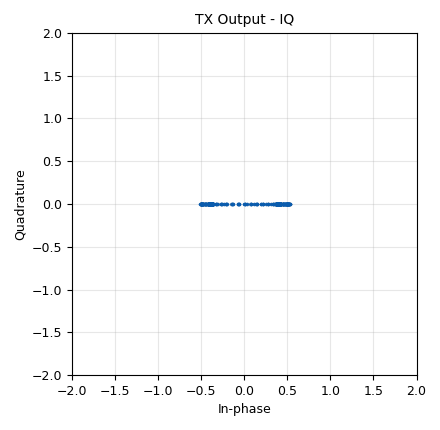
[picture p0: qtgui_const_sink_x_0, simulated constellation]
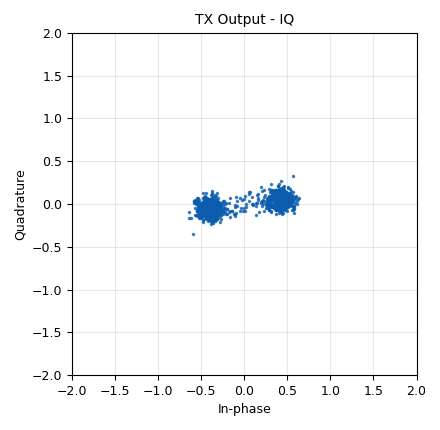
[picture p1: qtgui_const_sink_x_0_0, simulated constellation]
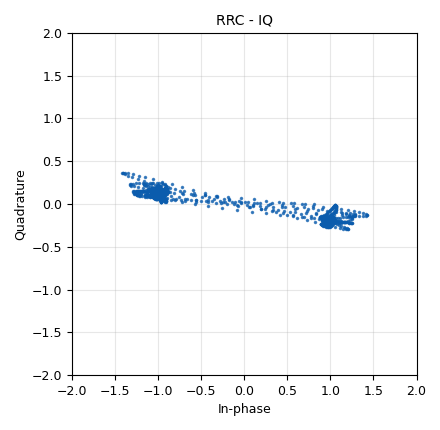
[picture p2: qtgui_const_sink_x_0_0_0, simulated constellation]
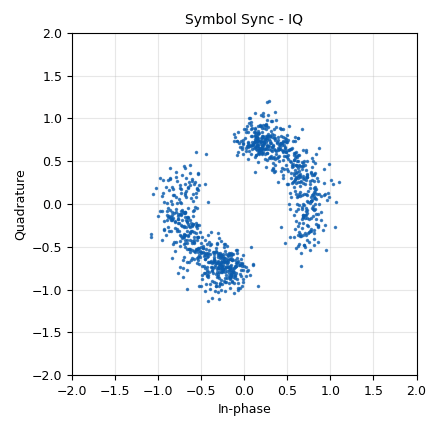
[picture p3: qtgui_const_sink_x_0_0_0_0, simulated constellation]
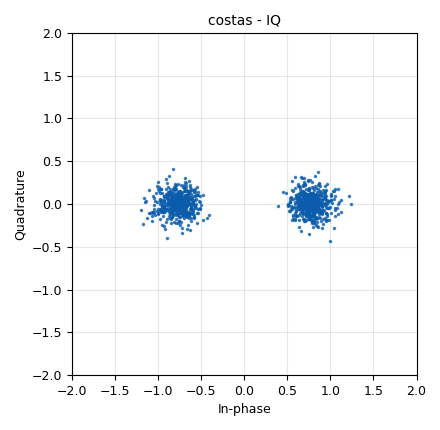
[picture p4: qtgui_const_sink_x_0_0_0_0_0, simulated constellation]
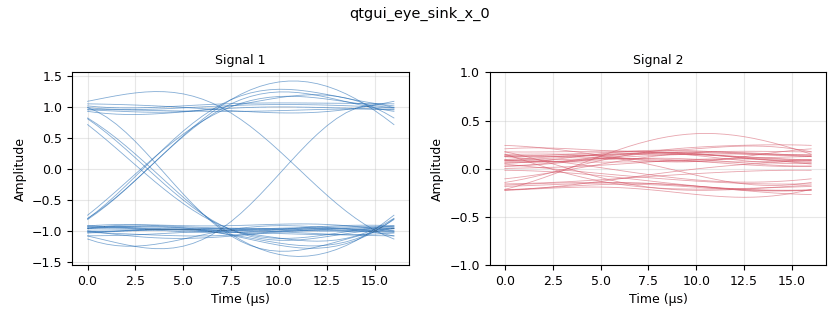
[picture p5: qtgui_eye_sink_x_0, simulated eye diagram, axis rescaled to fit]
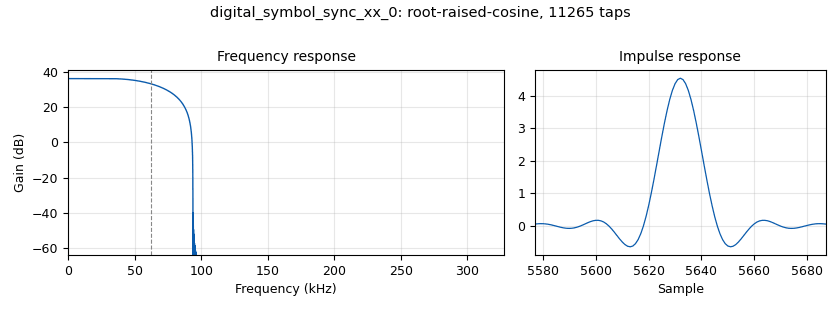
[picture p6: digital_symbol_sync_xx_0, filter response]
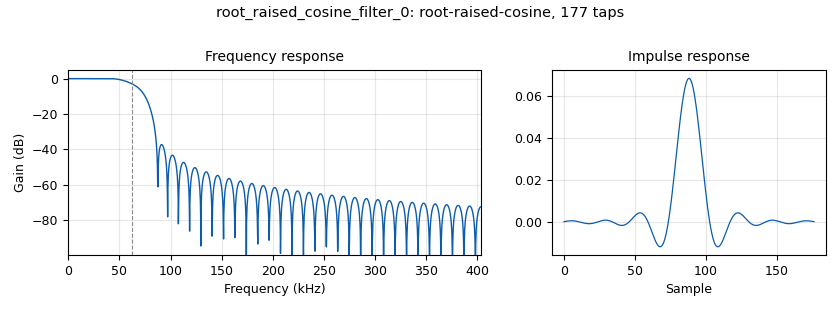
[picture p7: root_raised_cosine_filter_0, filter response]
options:
  parameters:
    generate_options: qt_gui
    id: BPSK_FullSystem
    output_language: python
    title: BPSK Transmit
  states: {}

blocks:
- name: bb_gain
  id: variable_qtgui_range
  parameters:
    gui_hint: 2,0
    label: Baseband gain
    rangeType: int
    start: '0'
    step: '2'
    stop: '62'
    value: '8'
  states: {}
- name: bit_delay
  id: variable_qtgui_range
  parameters:
    start: '0'
    step: '1'
    stop: '16'
    value: '4'
  states: {}
- name: bpsk_constellation
  id: variable_constellation
  parameters:
    precision: '8'
    type: bpsk
  states: {}
- name: channel_freq
  id: variable_qtgui_range
  parameters:
    gui_hint: 5,1
    label: Channel Freq Offset
    min_len: '1'
    start: '0'
    step: '.01'
    stop: '1'
    value: '.0000001'
    widget: counter
  states: {}
- name: channel_noise
  id: variable_qtgui_range
  parameters:
    gui_hint: 5,0
    label: noise
    min_len: '1'
    start: '0'
    step: '.01'
    stop: '1'
    value: '.1'
    widget: counter
  states: {}
- name: cos_freq
  id: variable_qtgui_range
  parameters:
    gui_hint: 0,3
    label: cos freq
    min_len: '100'
    start: 100e3
    step: 1e3
    stop: 700e3
    value: 100e3
  states: {}
- name: freq
  id: variable_qtgui_range
  parameters:
    gui_hint: 1,1
    label: Frequency
    start: 85e6
    step: 1e5
    stop: 110e6
    value: 89.7e6
  states: {state: disabled}
- name: freq
  id: variable_qtgui_range
  parameters:
    gui_hint: 2,3
    label: Frequency
    min_len: '50'
    start: 900e6
    step: 1e4
    stop: 950e6
    value: 915e6
  states: {}
- name: if_gain
  id: variable_qtgui_range
  parameters:
    gui_hint: 2,2
    label: LNA Gain
    min_len: '47'
    rangeType: int
    start: '0'
    step: '1'
    stop: '47'
    value: '36'
  states: {}
- name: nfilts
  id: variable
  parameters:
    value: '64'
  states: {}
- name: rrc_filter_taps
  id: variable_rrc_filter_taps
  parameters:
    alpha: '0.5'
    gain: nfilts
    ntaps: 11*sps*nfilts
    samp_rate: samp_rate
    sym_rate: samp_rate/sps
  states: {}
- name: rx_gain
  id: variable_qtgui_range
  parameters:
    gui_hint: 2,1
    label: RX Gain
    min_len: '2'
    rangeType: int
    start: '0'
    step: '1'
    stop: '1'
    value: '0'
    widget: slider
  states: {}
- name: samp_rate
  id: variable
  parameters:
    value: int(2e6)
  states: {}
- name: sps
  id: variable
  parameters:
    value: '16'
  states: {}
- name: tx_en
  id: variable_qtgui_range
  parameters:
    gui_hint: 0,0
    label: Transmit Enable
    min_len: '5'
    rangeType: int
    start: '0'
    step: '1'
    stop: '1'
    value: '1'
    widget: slider
  states: {state: disabled}
- name: tx_freq
  id: variable
  parameters:
    value: 915e6
  states: {}
- name: tx_gain
  id: variable_qtgui_range
  parameters:
    gui_hint: 0,2
    label: tx gain
    min_len: '2'
    rangeType: int
    start: '0'
    step: '1'
    stop: '1'
    value: '0'
    widget: counter
  states: {}
- name: tx_lna
  id: variable_qtgui_range
  parameters:
    gui_hint: 0,1
    label: TX LNA
    min_len: '47'
    rangeType: int
    start: '0'
    step: '1'
    stop: '47'
    value: '32'
  states: {}
- name: analog_agc_xx_0
  id: analog_agc_xx
  parameters:
    gain: '1.0'
    max_gain: '65536'
    rate: '1e-4'
    reference: '1.0'
    type: complex
  states: {}
- name: analog_random_source_x_0
  id: analog_random_source_x
  parameters:
    max: '10'
    min: '0'
    num_samps: '10'
    repeat: 'True'
    type: byte
  states: {state: disabled}
- name: analog_sig_source_x_0
  id: analog_sig_source_x
  parameters:
    amp: '1'
    freq: cos_freq
    offset: '0'
    phase: '0'
    samp_rate: samp_rate
    type: complex
    waveform: analog.GR_COS_WAVE
  states: {state: disabled}
- name: blocks_burst_to_stream_0
  id: blocks_burst_to_stream
  parameters:
    len_tag_key: '"packet_len"'
    propagate_tags: 'False'
    type: byte
    vlen: '1'
  states: {state: disabled}
- name: blocks_char_to_float_0
  id: blocks_char_to_float
  parameters:
    scale: '1'
  states: {}
- name: blocks_char_to_float_1
  id: blocks_char_to_float
  parameters:
    scale: '1'
  states: {state: disabled}
- name: blocks_char_to_float_2
  id: blocks_char_to_float
  parameters:
    scale: '1'
  states: {}
- name: blocks_char_to_float_2_0
  id: blocks_char_to_float
  parameters:
    scale: '1'
  states: {}
- name: blocks_delay_0
  id: blocks_delay
  parameters:
    delay: bit_delay
    type: complex
  states: {}
- name: blocks_file_sink_0
  id: blocks_file_sink
  parameters:
    file: /home/ubuntu/Documents/lsreeharikesan/senior_rf_exercises-master/4.00_Communication-Systems-Theory-and-Application/4.06_Demonstrate-Digital-Modulation/BPSK/BPSK_RX
    type: complex
  states: {state: disabled}
- name: blocks_file_sink_1
  id: blocks_file_sink
  parameters:
    file: /home/rf/Documents/BPSK/normal_processed
    type: byte
  states: {}
- name: blocks_file_sink_2
  id: blocks_file_sink
  parameters:
    file: /home/rf/Documents/BPSK/flipped_processed_packed
    type: byte
  states: {}
- name: blocks_file_source_0
  id: blocks_file_source
  parameters:
    file: /home/ubuntu/Documents/lsreeharikesan/senior_rf_exercises-master/4.00_Communication-Systems-Theory-and-Application/4.06_Demonstrate-Digital-Modulation/BPSK/tx_bytes
    repeat: 'True'
    type: byte
  states: {state: disabled}
- name: blocks_message_strobe_0
  id: blocks_message_strobe
  parameters:
    msg: pmt.intern("TEST")
    period: '1000'
  states: {state: disabled}
- name: blocks_multiply_const_vxx_0
  id: blocks_multiply_const_vxx
  parameters:
    const: '.4'
    type: complex
  states: {}
- name: blocks_multiply_const_vxx_1
  id: blocks_multiply_const_vxx
  parameters:
    const: '-1'
    type: complex
  states: {}
- name: blocks_null_sink_0
  id: blocks_null_sink
  parameters:
    type: byte
  states: {state: disabled}
- name: blocks_repack_bits_bb_0_0
  id: blocks_repack_bits_bb
  parameters:
    endianness: gr.GR_LSB_FIRST
    k: '1'
    l: '8'
  states: {}
- name: blocks_repack_bits_bb_0_0_0
  id: blocks_repack_bits_bb
  parameters:
    endianness: gr.GR_LSB_FIRST
    k: '1'
    l: '8'
  states: {}
- name: blocks_skiphead_0
  id: blocks_skiphead
  parameters:
    num_items: int(samp_rate)
    type: complex
  states: {}
- name: blocks_skiphead_1
  id: blocks_skiphead
  parameters:
    num_items: '1024'
    type: complex
  states: {state: disabled}
- name: blocks_throttle2_0
  id: blocks_throttle2
  parameters:
    samples_per_second: samp_rate
    type: complex
  states: {}
- name: blocks_vector_source_x_0
  id: blocks_vector_source_x
  parameters:
    repeat: 'True'
    type: byte
    vector: (0,1,2,3,4,5)
  states: {}
- name: channels_channel_model_0
  id: channels_channel_model
  parameters:
    epsilon: '1.0'
    freq_offset: channel_freq
    noise_voltage: channel_noise
    seed: '5'
    taps: '1.0'
  states: {}
- name: digital_constellation_decoder_cb_0
  id: digital_constellation_decoder_cb
  parameters:
    constellation: bpsk_constellation
  states: {}
- name: digital_constellation_decoder_cb_0_0
  id: digital_constellation_decoder_cb
  parameters:
    constellation: bpsk_constellation
  states: {}
- name: digital_constellation_modulator_0
  id: digital_constellation_modulator
  parameters:
    constellation: bpsk_constellation
    differential: 'True'
    excess_bw: '0.5'
    samples_per_symbol: sps
    truncate: 'True'
  states: {}
- name: digital_costas_loop_cc_0
  id: digital_costas_loop_cc
  parameters:
    order: '2'
    w: 2*np.pi*.01
  states: {}
- name: digital_diff_encoder_bb_0
  id: digital_diff_encoder_bb
  parameters:
    coding: digital.DIFF_DIFFERENTIAL
    modulus: '2'
  states: {}
- name: digital_fll_band_edge_cc_0
  id: digital_fll_band_edge_cc
  parameters:
    filter_size: sps*10+1
    rolloff: '.5'
    samps_per_sym: sps
    type: cc
    w: 2*np.pi/sps/100
  states: {}
- name: digital_symbol_sync_xx_0
  id: digital_symbol_sync_xx
  parameters:
    damping: '1.0'
    loop_bw: '0.045'
    max_dev: '1.5'
    nfilters: nfilts
    osps: '1'
    pfb_mf_taps: rrc_filter_taps
    resamp_type: digital.IR_PFB_MF
    sps: sps
    ted_gain: '1.0'
    ted_type: digital.TED_SIGNAL_TIMES_SLOPE_ML
    type: cc
  states: {}
- name: epy_block_2
  id: epy_block
  parameters:
    _source_code: |
      """
      Embedded Python Blocks:

      Each time this file is saved, GRC will instantiate the first class it finds
      to get ports and parameters of your block. The arguments to __init__  will
      be the parameters. All of them are required to have default values!
      """

      import numpy as np
      from gnuradio import gr
      import pmt


      class blk(gr.sync_block):  # other base classes are basic_block, decim_block, interp_block
          """Embedded Python Block example - a simple multiply const"""

          def __init__(self, preamble=[0xAA,0xAA], syncword=[0x56]):  # only default arguments here
              """arguments to this function show up as parameters in GRC"""
              gr.sync_block.__init__(
                  self,
                  name='Packet Formatter',   # will show up in GRC
                  in_sig= None,
                  out_sig= None
              )
              # if an attribute with the same name as a parameter is found,
              # a callback is registered (properties work, too).
              self.message_port_register_in(pmt.intern('PDU_in'))
              self.message_port_register_out(pmt.intern('PDU_out'))
              self.set_msg_handler(pmt.intern('PDU_in'),self.handle_msg)
              
              self.preamble = np.array(preamble,dtype=np.uint8)
              self.syncword = np.array(syncword,dtype=np.uint8)

          def handle_msg(self, msg):
              #Get msg
              payload = pmt.to_python(msg)
              
              #print(f"Payload: {payload}\n Payload type: {type(payload)}")
              
              payload = np.fromstring(payload[1], dtype=np.uint8)
              #print(f"Payload: {payload}")
              #Get Payload length
              payload_len = len(payload)
              #print(f"Payload Len: {payload_len}")
              payload_len = np.array([len(payload) >> 8, len(payload) & 0xFF], dtype=np.uint8)
              #print(f"Payload Len: {payload_len}")
              
              packet = np.concatenate([self.preamble, self.syncword, payload_len, payload_len, 	
              	payload])
              
              #print(f"Packet: {packet}")
              #Create PMT u8vector
              pmt_out = pmt.cons(pmt.PMT_NIL, pmt.init_u8vector(len(packet), packet))
              self.message_port_pub(pmt.intern('PDU_out'), pmt_out)
    preamble: '[0x55, 0x55, 0x55, 0x55, 0x55]'
    syncword: '[90,232]'
  states: {state: disabled}
- name: freq_offset
  id: qtgui_number_sink
  parameters:
    autoscale: 'True'
    avg: '.5'
    graph_type: qtgui.NUM_GRAPH_VERT
    gui_hint: 3,4
    label1: Freq
    label2: Phase
    label3: Error
    max: '2'
    min: '-2'
    name: '"Freq Offset"'
    nconnections: '3'
    type: float
    unit1: Hz
  states: {}
- name: import_0
  id: import
  parameters:
    imports: import numpy as np
  states: {}
- name: low_pass_filter_0
  id: low_pass_filter
  parameters:
    cutoff_freq: 300e3
    decim: '1'
    gain: '1'
    samp_rate: samp_rate
    type: fir_filter_ccf
    width: 50e3
    win: window.WIN_HAMMING
  states: {state: disabled}
- name: pdu_pdu_to_stream_x_0
  id: pdu_pdu_to_stream_x
  parameters:
    depth: '1024'
    early_behavior: pdu.EARLY_BURST_BALK
    type: byte
  states: {state: disabled}
- name: qtgui_const_sink_x_0
  id: qtgui_const_sink_x
  parameters:
    gui_hint: 1,2
    name: '"TX Output - IQ"'
    size: '1024'
    type: complex
  states: {}
- name: qtgui_const_sink_x_0_0
  id: qtgui_const_sink_x
  parameters:
    gui_hint: 3,3
    name: '"TX Output - IQ"'
    size: '1024'
    type: complex
  states: {}
- name: qtgui_const_sink_x_0_0_0
  id: qtgui_const_sink_x
  parameters:
    gui_hint: 4,2
    name: '"RRC - IQ"'
    size: '1024'
    type: complex
  states: {}
- name: qtgui_const_sink_x_0_0_0_0
  id: qtgui_const_sink_x
  parameters:
    gui_hint: 6,1
    name: '"Symbol Sync - IQ"'
    size: '1024'
    type: complex
  states: {}
- name: qtgui_const_sink_x_0_0_0_0_0
  id: qtgui_const_sink_x
  parameters:
    gui_hint: 7,1
    name: '"costas - IQ"'
    size: '1024'
    type: complex
  states: {}
- name: qtgui_edit_box_msg_0
  id: qtgui_edit_box_msg
  parameters:
    key: Payload
    label: Payload
    type: string
    value: '"Hello World!!!!!!!!!!!!!!!!!!!!!!!!!!!!!!!!!!!!!!!!!!!!!!!!!!!!!!!!!!!!!!!!!!AAAAAAAAAAAAAAAAAAAAA"'
  states: {state: disabled}
- name: qtgui_eye_sink_x_0
  id: qtgui_eye_sink_x
  parameters:
    gui_hint: 4,3
    samp_per_symbol: sps
    size: '1024'
    srate: samp_rate
    type: complex
    yunit: '"RRC Eye"'
  states: {}
- name: qtgui_eye_sink_x_0_0
  id: qtgui_eye_sink_x
  parameters:
    entags: 'False'
    gui_hint: 6,2
    samp_per_symbol: sps
    size: '1024'
    srate: samp_rate
    type: complex
    ymax: '2'
    ymin: '-2'
  states: {}
- name: qtgui_freq_sink_x_0
  id: qtgui_freq_sink_x
  parameters:
    bw: samp_rate
    fc: '0'
    fftsize: '1024'
    gui_hint: 1,0
    label1: '"RRC Output Freq Domain"'
    name: '"TX Output - Freq"'
    type: complex
  states: {}
- name: qtgui_freq_sink_x_0_0
  id: qtgui_freq_sink_x
  parameters:
    average: '0.05'
    bw: samp_rate
    fc: '0'
    fftsize: '2048'
    gui_hint: 3,1
    label1: '"RRC Output Freq Domain"'
    name: '"RX - Freq"'
    type: complex
  states: {}
- name: qtgui_freq_sink_x_0_0_0
  id: qtgui_freq_sink_x
  parameters:
    average: '0.05'
    bw: samp_rate
    fc: '0'
    fftsize: '2048'
    gui_hint: 4,0
    label1: '"RRC Output Freq Domain"'
    name: '"RRC - Freq"'
    type: complex
  states: {}
- name: qtgui_time_sink_x_0
  id: qtgui_time_sink_x
  parameters:
    gui_hint: 1,1
    name: '"TX Output - Time"'
    size: '1024'
    srate: samp_rate
    type: complex
  states: {}
- name: qtgui_time_sink_x_0_0
  id: qtgui_time_sink_x
  parameters:
    gui_hint: 3,2
    name: '"RX- Time"'
    size: '1024'
    srate: samp_rate
    type: complex
  states: {}
- name: qtgui_time_sink_x_0_0_0
  id: qtgui_time_sink_x
  parameters:
    gui_hint: 4,1
    name: '"RRC- Time"'
    size: '1024'
    srate: samp_rate
    type: complex
  states: {}
- name: qtgui_time_sink_x_0_0_0_0
  id: qtgui_time_sink_x
  parameters:
    gui_hint: 6,0
    name: '"Symbol Sync - Time"'
    size: '1024'
    srate: samp_rate
    type: complex
    ymax: '2'
    ymin: '-2'
  states: {}
- name: qtgui_time_sink_x_0_0_0_0_0
  id: qtgui_time_sink_x
  parameters:
    gui_hint: 7,0
    name: '"Costas - Time"'
    size: '1024'
    srate: samp_rate
    type: complex
    ymax: '2'
    ymin: '-2'
  states: {}
- name: qtgui_time_sink_x_0_0_0_1
  id: qtgui_time_sink_x
  parameters:
    gui_hint: 6,3,
    name: '"Sync Error"'
    size: '1024'
    srate: samp_rate
    type: float
  states: {}
- name: qtgui_time_sink_x_0_0_0_1_0
  id: qtgui_time_sink_x
  parameters:
    autoscale: 'True'
    gui_hint: 6,4
    label1: T Inst
    label2: T_AVG
    name: '"T Error"'
    nconnections: '2'
    size: '1024'
    srate: samp_rate
    type: float
    ylabel: ''
  states: {}
- name: qtgui_time_sink_x_1
  id: qtgui_time_sink_x
  parameters:
    label1: error
    label2: phase
    name: '"freq_offset"'
    nconnections: '2'
    size: '1024'
    srate: samp_rate
    type: float
  states: {state: disabled}
- name: qtgui_time_sink_x_2
  id: qtgui_time_sink_x
  parameters:
    autoscale: 'True'
    label1: Original
    label2: Processed
    label3: 180 Shift
    name: '"Original vs Processed"'
    nconnections: '3'
    size: '1024'
    srate: samp_rate
    type: float
  states: {}
- name: qtgui_time_sink_x_3
  id: qtgui_time_sink_x
  parameters:
    autoscale: 'True'
    label1: Normal
    label2: 180 Flip
    nconnections: '2'
    size: '1024'
    srate: samp_rate
    type: float
    ymax: '11'
  states: {state: disabled}
- name: qtgui_waterfall_sink_x_0
  id: qtgui_waterfall_sink_x
  parameters:
    bw: samp_rate
    fc: '0'
    fftsize: '1024'
    gui_hint: 3,0
    name: '"RX Waterfall"'
    type: complex
  states: {}
- name: root_raised_cosine_filter_0
  id: root_raised_cosine_filter
  parameters:
    alpha: '0.35'
    decim: '1'
    gain: '1'
    ntaps: 11*sps
    samp_rate: samp_rate
    sym_rate: samp_rate/sps
    type: fir_filter_ccf
  states: {}
- name: soapy_hackrf_sink_0
  id: soapy_hackrf_sink
  parameters:
    amp: tx_gain
    center_freq: tx_freq
    dev_args: '"hackrf=0"'
    samp_rate: samp_rate
    type: fc32
    vga: tx_lna
  states: {state: disabled}
- name: soapy_hackrf_source_0
  id: soapy_hackrf_source
  parameters:
    amp: rx_gain
    bandwidth: 1e6
    center_freq: freq
    dev_args: '"hackrf=1"'
    gain: if_gain
    samp_rate: samp_rate
    type: fc32
    vga: bb_gain
  states: {state: disabled}
- name: virtual_sink_0
  id: virtual_sink
  parameters:
    stream_id: pdus
  states: {state: disabled}
- name: virtual_sink_1
  id: virtual_sink
  parameters:
    stream_id: rx_display
  states: {}
- name: virtual_sink_2
  id: virtual_sink
  parameters:
    stream_id: rx_sim
  states: {}
- name: virtual_sink_3
  id: virtual_sink
  parameters:
    stream_id: original_data
  states: {}
- name: virtual_source_0
  id: virtual_source
  parameters:
    stream_id: pdus
  states: {state: disabled}
- name: virtual_source_1
  id: virtual_source
  parameters:
    stream_id: rx_display
  states: {}
- name: virtual_source_2
  id: virtual_source
  parameters:
    stream_id: rx_sim
  states: {}
- name: virtual_source_3
  id: virtual_source
  parameters:
    stream_id: original_data
  states: {}

connections:
- [analog_agc_xx_0, '0', digital_fll_band_edge_cc_0, '0']
- [analog_random_source_x_0, '0', digital_constellation_modulator_0, '0']
- [analog_random_source_x_0, '0', virtual_sink_3, '0']
- [analog_sig_source_x_0, '0', blocks_multiply_const_vxx_0, '0']
- [blocks_burst_to_stream_0, '0', digital_constellation_modulator_0, '0']
- [blocks_char_to_float_0, '0', qtgui_time_sink_x_2, '0']
- [blocks_char_to_float_2, '0', qtgui_time_sink_x_2, '1']
- [blocks_char_to_float_2, '0', qtgui_time_sink_x_3, '0']
- [blocks_char_to_float_2_0, '0', qtgui_time_sink_x_2, '2']
- [blocks_char_to_float_2_0, '0', qtgui_time_sink_x_3, '1']
- [blocks_delay_0, '0', blocks_multiply_const_vxx_1, '0']
- [blocks_delay_0, '0', digital_constellation_decoder_cb_0, '0']
- [blocks_file_source_0, '0', digital_constellation_modulator_0, '0']
- [blocks_message_strobe_0, strobe, epy_block_2, PDU_in]
- [blocks_multiply_const_vxx_0, '0', channels_channel_model_0, '0']
- [blocks_multiply_const_vxx_0, '0', qtgui_const_sink_x_0, '0']
- [blocks_multiply_const_vxx_0, '0', qtgui_freq_sink_x_0, '0']
- [blocks_multiply_const_vxx_0, '0', qtgui_time_sink_x_0, '0']
- [blocks_multiply_const_vxx_0, '0', soapy_hackrf_sink_0, '0']
- [blocks_multiply_const_vxx_1, '0', digital_constellation_decoder_cb_0_0, '0']
- [blocks_repack_bits_bb_0_0, '0', blocks_char_to_float_2_0, '0']
- [blocks_repack_bits_bb_0_0, '0', blocks_file_sink_2, '0']
- [blocks_repack_bits_bb_0_0_0, '0', blocks_char_to_float_2, '0']
- [blocks_repack_bits_bb_0_0_0, '0', blocks_file_sink_1, '0']
- [blocks_skiphead_0, '0', digital_symbol_sync_xx_0, '0']
- [blocks_skiphead_1, '0', blocks_repack_bits_bb_0_0, '0']
- [blocks_throttle2_0, '0', virtual_sink_2, '0']
- [blocks_vector_source_x_0, '0', digital_constellation_modulator_0, '0']
- [blocks_vector_source_x_0, '0', virtual_sink_3, '0']
- [channels_channel_model_0, '0', blocks_throttle2_0, '0']
- [digital_constellation_decoder_cb_0, '0', digital_diff_encoder_bb_0, '0']
- [digital_constellation_decoder_cb_0_0, '0', blocks_repack_bits_bb_0_0, '0']
- [digital_constellation_decoder_cb_0_0, '0', blocks_skiphead_1, '0']
- [digital_constellation_modulator_0, '0', blocks_multiply_const_vxx_0, '0']
- [digital_costas_loop_cc_0, '0', blocks_delay_0, '0']
- [digital_costas_loop_cc_0, '0', qtgui_const_sink_x_0_0_0_0_0, '0']
- [digital_costas_loop_cc_0, '0', qtgui_time_sink_x_0_0_0_0_0, '0']
- [digital_diff_encoder_bb_0, '0', blocks_char_to_float_1, '0']
- [digital_diff_encoder_bb_0, '0', blocks_repack_bits_bb_0_0_0, '0']
- [digital_fll_band_edge_cc_0, '0', blocks_skiphead_0, '0']
- [digital_fll_band_edge_cc_0, '0', root_raised_cosine_filter_0, '0']
- [digital_fll_band_edge_cc_0, '1', freq_offset, '0']
- [digital_fll_band_edge_cc_0, '2', freq_offset, '1']
- [digital_fll_band_edge_cc_0, '2', qtgui_time_sink_x_1, '1']
- [digital_fll_band_edge_cc_0, '3', freq_offset, '2']
- [digital_fll_band_edge_cc_0, '3', qtgui_time_sink_x_1, '0']
- [digital_symbol_sync_xx_0, '0', digital_costas_loop_cc_0, '0']
- [digital_symbol_sync_xx_0, '0', qtgui_const_sink_x_0_0_0_0, '0']
- [digital_symbol_sync_xx_0, '0', qtgui_eye_sink_x_0_0, '0']
- [digital_symbol_sync_xx_0, '0', qtgui_time_sink_x_0_0_0_0, '0']
- [digital_symbol_sync_xx_0, '1', qtgui_time_sink_x_0_0_0_1, '0']
- [digital_symbol_sync_xx_0, '2', qtgui_time_sink_x_0_0_0_1_0, '0']
- [digital_symbol_sync_xx_0, '3', qtgui_time_sink_x_0_0_0_1_0, '1']
- [epy_block_2, PDU_out, virtual_sink_0, '0']
- [low_pass_filter_0, '0', root_raised_cosine_filter_0, '0']
- [pdu_pdu_to_stream_x_0, '0', blocks_burst_to_stream_0, '0']
- [pdu_pdu_to_stream_x_0, '0', blocks_null_sink_0, '0']
- [qtgui_edit_box_msg_0, msg, blocks_message_strobe_0, set_msg]
- [root_raised_cosine_filter_0, '0', qtgui_const_sink_x_0_0_0, '0']
- [root_raised_cosine_filter_0, '0', qtgui_eye_sink_x_0, '0']
- [root_raised_cosine_filter_0, '0', qtgui_freq_sink_x_0_0_0, '0']
- [root_raised_cosine_filter_0, '0', qtgui_time_sink_x_0_0_0, '0']
- [soapy_hackrf_source_0, '0', analog_agc_xx_0, '0']
- [soapy_hackrf_source_0, '0', low_pass_filter_0, '0']
- [soapy_hackrf_source_0, '0', virtual_sink_1, '0']
- [virtual_source_0, '0', pdu_pdu_to_stream_x_0, pdus]
- [virtual_source_1, '0', qtgui_const_sink_x_0_0, '0']
- [virtual_source_1, '0', qtgui_freq_sink_x_0_0, '0']
- [virtual_source_1, '0', qtgui_time_sink_x_0_0, '0']
- [virtual_source_1, '0', qtgui_waterfall_sink_x_0, '0']
- [virtual_source_2, '0', analog_agc_xx_0, '0']
- [virtual_source_2, '0', virtual_sink_1, '0']
- [virtual_source_3, '0', blocks_char_to_float_0, '0']

metadata:
  file_format: 1
  grc_version: v3.11.0.0git-843-g6b25c171
